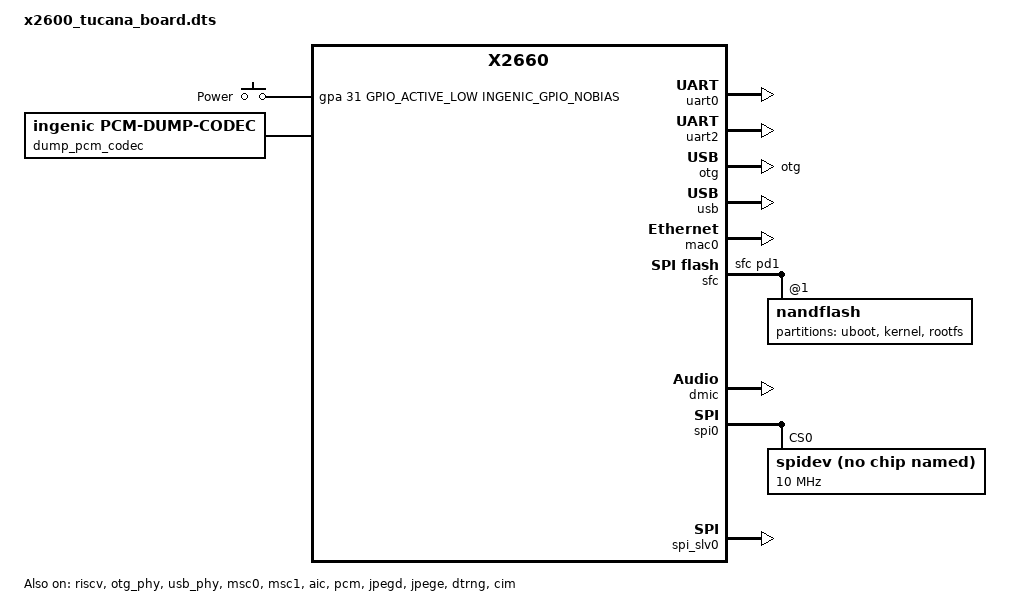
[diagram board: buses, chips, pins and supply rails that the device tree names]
/dts-v1/;

#include <dt-bindings/input/input.h>
#include "x2600.dtsi"
#include "tucana_cameras/X2600_TUCANA_DVP.dtsi"

/ {
	compatible = "ingenic,x2660-evb-board", "ingenic,x2660";

	reserved-memory {
		#address-cells = <1>;
		#size-cells = <1>;
		ranges;

	reserved-memory {
		#address-cells = <1>;
		#size-cells = <1>;
		ranges =<>;

		reserved_memory: reserved_mem@2000000{
		      compatible = "shared-dma-pool";
		      reg = <0x02000000 0x800000>;
		};
	 };

#if 1
		riscv_mcu_ram: riscv_mcu_ram@7F00000{
		       compatible = "shared-dma-pool";
		       reg = <0x07F00000 0x50000>;
		       no-map;

		};

		vdev0buffer: vdev0buffer@7F50000{
		     compatible = "shared-dma-pool";
		     reg = <0x07F50000 0x8000>;
		     no-map;
		};

		vdev0vring0: vdev0vring0@12400000{
		     compatible = "shared-dma-pool";
		     reg = <0x12400000 0x1000>;
		     no-map;
		};

		vdev0vring1: vdev0vring1@12401000{
		     compatible = "shared-dma-pool";
		     reg = <0x12401000 0x1000>;
		     no-map;
		};
#endif
	};
};

#if 1
&riscv {
	status = "okay";
	memory-region=<&vdev0buffer>, <&vdev0vring0>, <&vdev0vring1>;
	load-addr=<0x07f00000>;
};
#endif

&uart0 {
	status = "okay";
	pinctrl-names = "default";
	pinctrl-0 = <&uart0_pe>;
};

&uart2 {
	status = "okay";
	pinctrl-names = "default";
	pinctrl-0 = <&uart2_pd>;
};

//&pwm {
//     ingenic,pwm-outputs = <0>; /* <0 - 15> select which pwms are really used */
//}

&otg {
	dr_mode = "otg"; // host,peripheral,otg
	device-using-dma = <1>;
	status = "okay";
};

&usb {
	device-using-dma = <1>;
	status = "okay";
};

&otg_phy {
	status = "okay";
	ingenic,drvvbus-gpio = <&gpe 1 GPIO_ACTIVE_HIGH INGENIC_GPIO_NOBIAS>;
};

&usb_phy {
	status = "okay";
	ingenic,drvvbus-gpio = <&gpe 0 GPIO_ACTIVE_HIGH INGENIC_GPIO_NOBIAS>;
};

&msc0 {
	status = "okay";
	/*mmc-hs200-1_8v;*/
	pinctrl-names ="default";
	pinctrl-0 = <&msc0_4bit>;
	cap-mmc-highspeed;
	non-removable;
	max-frequency = <50000000>;
	bus-width = <4>;
	non-removable;
	voltage-ranges = <1800 3300>;

	/* special property */
	ingenic,wp-gpios = <0>;
	ingneic,cd-gpios = <0>;
	ingenic,rst-gpios = <0>;
};

&msc1 {
	status = "okay";
	pinctrl-names ="default";
	pinctrl-0 = <&msc1_4bit1>;
	cap-sd-highspeed;
	max-frequency = <50000000>;
	bus-width = <4>;
	voltage-ranges = <1800 3300>;

	/* cd-inverted; */
	cd-gpios = <&gpc 12 GPIO_ACTIVE_LOW INGENIC_GPIO_NOBIAS>;
	/* special property */
	ingenic,rst-gpios = <0>;
};


&mac0 {
	pinctrl-names = "default", "reset";
    pinctrl-0 = <&mac0_rmii_p0_normal>, <&mac0_rmii_p1_normal>,<&mac0_phy_clk>;
	pinctrl-1 = <&mac0_rmii_p0_rst>, <&mac0_rmii_p1_normal>, <&mac0_phy_clk>;
	status = "okay";
	ingenic,rst-gpio = <&gpc 13 GPIO_ACTIVE_LOW INGENIC_GPIO_NOBIAS>;
	ingenic,rst-ms = <10>;
	ingenic,mac-mode = <RMII>;
	ingenic,mode-reg = <0xb00000e4>;
	ingenic,phy-clk-freq = <50000000>;
};


&sfc {
	status = "okay";
	pinctrl-names = "default";
	pinctrl-0 = <&sfc_pd1>;
	ingenic,sfc-max-frequency = <200000000>;
	ingenic,sfc-init-frequency= <40000000>;
	ingenic,use_ofpart_info  = /bits/ 8 <0>;
	ingenic,spiflash_param_offset = <0>;

	nandflash@1 {
		partitions {
		compatible = "fixed-partitions";
		#address-cells = <1>;
		#size-cells = <1>;
		/* spi nand flash partition */
		partition@0 {
			label = "uboot";
			reg = <0x0000000 0x100000>;
		/*read-only;*/
		};
		partition@100000 {
			label = "kernel";
			reg = <0x100000 0x800000>;
		};
		partition@900000 {
			label = "rootfs";
			reg = <0x900000 0xf700000>;
		};
		};
	};

};

&aic {
	status = "okay";
	pinctrl-names = "default";
	pinctrl-0 = <&aic_pc>;
};

&i2c0{
	status = "disable";
	clock-frequency = <100000>;
	// timeout = <1000>;
	pinctrl-names = "default";
	pinctrl-0 = <&i2c0_pc>;

	wm8594: wm8594@1a{
		compatible = "wlf,wm8594";
		reg = <0x1a>;
		status = "disable";
		reset-gpios = <&gpc 20 GPIO_ACTIVE_HIGH INGENIC_GPIO_NOBIAS>;
	};
};

&dmic {
	status = "okay";
	pinctrl-names = "default";
	pinctrl-0 = <&dmic_pc_2ch>;
};

&pcm {
	status = "okay";
	ingenic,pcm-master-mode = <1>;
	pinctrl-names = "default";
	pinctrl-0 = <&pcm_pc>;
};

&spi0 {
	status = "okay";
	pinctrl-names = "default";
	pinctrl-0 = <&spi0_pb>;
	spi-max-frequency = <54000000>;
	num-cs = <2>;
	/* cs-gpios = <0>, <0>; */
	/* cs-gpios = <&gpb 17 GPIO_ACTIVE_HIGH INGENIC_GPIO_NOBIAS>, <&gpb 16 GPIO_ACTIVE_HIGH INGENIC_GPIO_NOBIAS>; */
	ingenic,chnl = <0>;
	ingenic,allow_cs_same = <1>;
	ingenic,bus_num = <0>;
	ingenic,has_dma_support = <0>;
	ingenic,spi-src-clk = <1>;/*0.ext; 1.ssi*/

	/* Add SPI interface device */
	spidev: spidev@0 {
		compatible = "rohm,dh2228fv";
		reg = <0>;
		spi-max-frequency = <10000000>;
	};
};

&spi_slv0 {
	status = "okay";
	pinctrl-names = "default";
	pinctrl-0 = <&spi_slv_pb>;
	ingenic,has_dma_support = <0>;
};
/*
&efuse {
	status = "disabled";
	ingenic,efuse-en-gpio = <&gpe 2 GPIO_ACTIVE_LOW INGENIC_GPIO_NOBIAS>;
};
*/

/ {

	extclk: extclk {
		clock-frequency = <24000000>;
	};

	gpio_keys: gpio_keys {
		   compatible = "gpio-keys";

		   power {
			   label = "Power";
			   linux,code = <KEY_POWER>;
			   gpios = <&gpa 31 GPIO_ACTIVE_LOW INGENIC_GPIO_NOBIAS>;
			   gpio-key,wakeup;
		   };
	   };

	dump_pcm_codec:dump_pcm_codec{
		compatible = "ingenic,pcm-dump-codec";
		status = "okay";
	};

	sound_x2660_cdc {
		status = "disable";
		compatible = "ingenic,x2660-sound";
		ingenic,model = "x2660";
		ingenic,dai-link = "i2s-ecodec", "i2s-icodec", "dmic", "i2s-tloop";
		ingenic,stream = "i2s-ecodec", "i2s-icodec", "dmic", "i2s-tloop";
		ingenic,cpu-dai = <&i2s>, <&i2s>, <&dmic>, <&i2s_tloop>;
		ingenic,platform = <&aic>, <&aic>, <&dmic>, <&i2s_tloop>;
		ingenic,codec =  <&wm8594>, <&icodec>, <&dmic>, <&dump_pcm_codec>;
		ingenic,codec-dai = "wm8594-hifi", "icodec", "dmic-dump-codec", "pcm-dump";
		ingenic,audio-routing = "Speaker", "HPOUTL", "DACL", "MICBIAS" ,
			"ADCL",  "MICL",
			"ADCR",  "MICR";
	};

	sound_x2660_pcm_cdc {
		status = "okay";
		compatible = "ingenic,x2660-sound";
		ingenic,model = "x2660";
		ingenic,dai-link = "pcm", "i2s-icodec", "dmic", "i2s-tloop";
		ingenic,stream = "pcm", "i2s-icodec", "dmic", "i2s-tloop";
		ingenic,cpu-dai = <&pcm>, <&i2s>, <&dmic>, <&i2s_tloop>;
		ingenic,platform = <&pcm>, <&aic>, <&dmic>, <&i2s_tloop>;
		ingenic,codec =  <&dump_pcm_codec>, <&icodec>, <&dmic>, <&dump_pcm_codec>;
		ingenic,codec-dai = "pcm-dump", "icodec", "dmic-dump-codec", "pcm-dump";
		ingenic,audio-routing = "Speaker", "HPOUTL", "DACL", "MICBIAS" ,
			"ADCL",  "MICL",
			"ADCR",  "MICR";
	};
};

&jpegd {
	    status = "okay";
};

&jpege {
	    status = "okay";
};

&felix {
	status = "disable";
};

&pdma {
	status = "okay";
};

&pdma1 {
	status = "disable";
};

&dtrng {
	status = "okay";
};

&sadc{
	status = "disable";
	pinctrl-names = "default";
	pinctrl-0 = <&aux_all_pe>;
	seq1 = <0 1 2 3 4 5 6 7 8 9 10 11 12 13 14 15>;
	/* seq1的连续转换间隔时间 单位 ms*/
	seq1-cont-interval = <10>;
	ingenic,has_dma_support = <0>;

};

&can0 {
	status = "disable";
	pinctrl-names = "default";
	pinctrl-0 = <&can0_pin>;
	ingenic,clk-freq = <24000000>;
};

&cim {
	status = "okay";
	memory-region=<&reserved_memory>;
};

#ifdef CONFIG_STAGE_KD050WVFPA029
#include "x2660_evb_lcd/X2660_EVB_RGB_LCD_KD050.dtsi"
#endif

